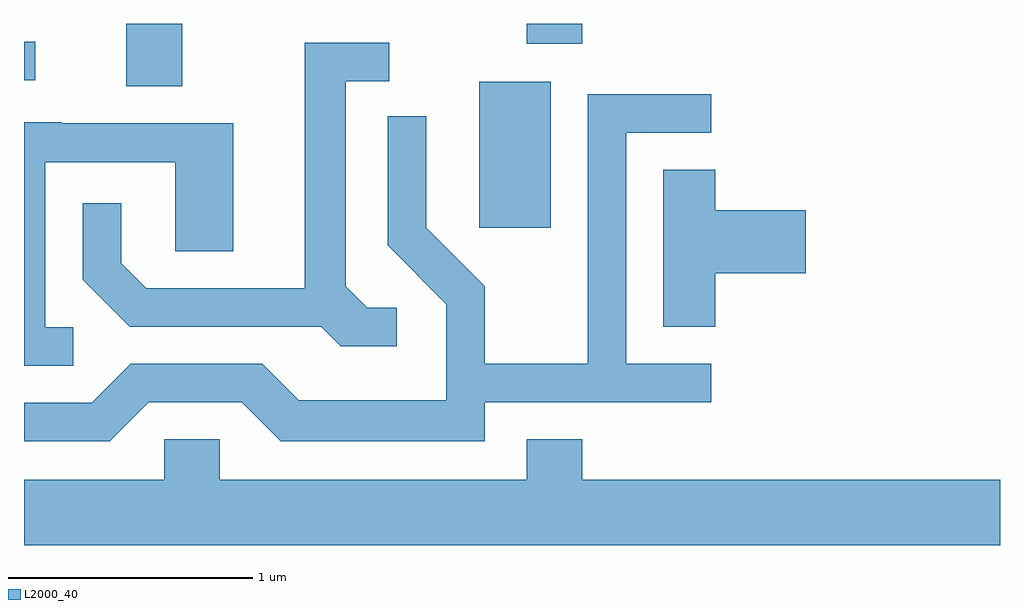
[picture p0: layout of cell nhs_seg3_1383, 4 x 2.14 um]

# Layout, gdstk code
import gdstk
lib = gdstk.Library(unit=1e-6, precision=1e-09)
def R(c, l, rs):  # rectangles x0, y0, x1, y1
    for r in rs: c.add(gdstk.rectangle(r[:2], r[2:], *l))
def P(c, l, *ps):  # polygons
    for p in ps: c.add(gdstk.Polygon(p, *l))
L2000_40 = (2000, 40)

nhs_seg3_1383 = lib.new_cell('nhs_seg3_1383')
R(nhs_seg3_1383, L2000_40, [(227.476,1165.056,227.769,1165.654), (226.031,1165.636,226.259,1165.892), (225.611,1165.661,225.658,1165.819), (227.671,1165.811,227.899,1165.892)])
P(nhs_seg3_1383, L2000_40, [(227.138,1164.729),(227.017,1164.729),(226.929,1164.817),(226.929,1165.656),(227.108,1165.656),(227.108,1165.814),(226.761,1165.814),(226.761,1164.809),(226.112,1164.809),(226.009,1164.912),(226.009,1165.158),(225.851,1165.158),(225.851,1164.844),(226.044,1164.651),(226.829,1164.651),(226.909,1164.571),(227.138,1164.571)],
  [(226.122,1164.341),(226.504,1164.341),(226.664,1164.181),(227.499,1164.181),(227.499,1164.341),(228.428,1164.341),(228.428,1164.499),(228.079,1164.499),(228.079,1165.446),(228.428,1165.446),(228.428,1165.604),(227.921,1165.604),(227.921,1164.499),(227.499,1164.499),(227.499,1164.817),(227.259,1165.057),(227.259,1165.513),(227.101,1165.513),(227.101,1164.984),(227.341,1164.744),(227.341,1164.349),(226.737,1164.349),(226.587,1164.499),(226.049,1164.499),(225.889,1164.339),(225.611,1164.339),(225.611,1164.181),(225.962,1164.181)],
  [(225.813,1164.649),(225.699,1164.649),(225.699,1165.326),(226.231,1165.326),(226.231,1164.961),(226.469,1164.961),(226.469,1165.484),(225.765,1165.484),(225.765,1165.489),(225.611,1165.489),(225.611,1164.491),(225.813,1164.491)],
  [(228.444,1164.871),(228.814,1164.871),(228.814,1165.129),(228.444,1165.129),(228.444,1165.294),(228.231,1165.294),(228.231,1164.651),(228.444,1164.651)],
  [(229.611,1164.024),(227.899,1164.024),(227.899,1164.189),(227.671,1164.189),(227.671,1164.024),(226.414,1164.024),(226.414,1164.189),(226.186,1164.189),(226.186,1164.024),(225.611,1164.024),(225.611,1163.756),(229.611,1163.756)])

lib.write_gds('nhs_seg3_1383.gds')
